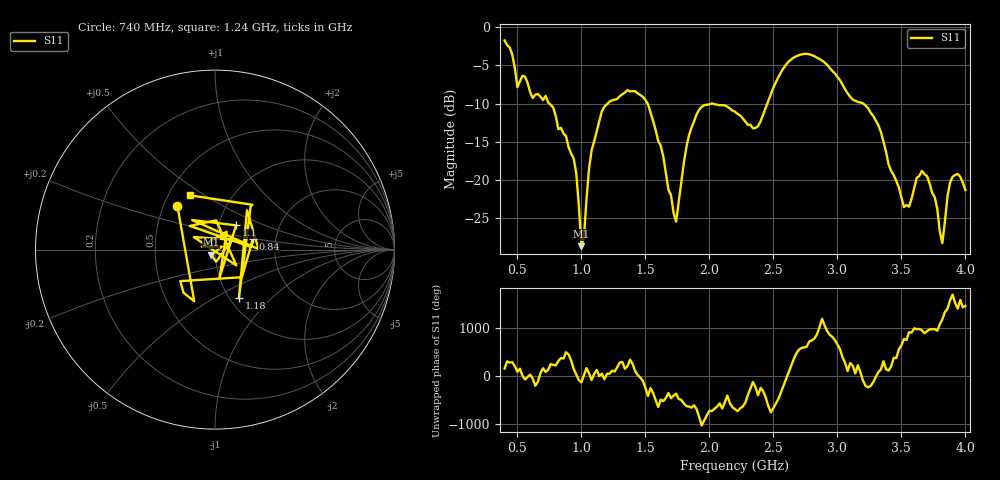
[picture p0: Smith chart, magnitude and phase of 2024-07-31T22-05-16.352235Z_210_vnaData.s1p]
!Created with skrf (http://scikit-rf.org).
# Hz S RI R 50.0
!freq ReS11 ImS11
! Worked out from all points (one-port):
!   181 points, 400 MHz to 4 GHz, reference 50 ohm
!   lowest |S11| = -28.7 dB at 1 GHz (marker M1), VSWR 1.08, Z = 47.7 - j2.77 ohm
!   |S11| at or under -10 dB: 749.5 MHz to 1.205 GHz (455.9 MHz wide, 46.6 % of centre); 1.517 GHz to 2.018 GHz (501.5 MHz wide, 28.4 % of centre); 3.202 GHz to end of sweep (the widest 3 of 4)
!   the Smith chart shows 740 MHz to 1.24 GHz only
!   S11 on the Smith chart (normalised r, x): 740 MHz: 0.59, +0.32; 840 MHz: 1.52, +0.18; 1.1 GHz: 1.21, +0.34; 1.18 GHz: 1.10, -0.66; 1.24 GHz: 0.64, +0.44
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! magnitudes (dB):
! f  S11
! 400 MHz  -1.7
! 500 MHz  -7.9
! 740 MHz  -9.8
! 840 MHz  -13.2
! 860 MHz  -13.9
! 960 MHz  -19.2
! 1 GHz  -28.7
! 1.1 GHz  -14.9
! 1.18 GHz  -10.4
! 1.24 GHz  -9.6
! 1.3 GHz  -9.0
! 1.52 GHz  -10.1
! 1.74 GHz  -25.5
! 1.76 GHz  -23.0
! 1.84 GHz  -14.2
! 1.92 GHz  -10.8
! 2.2 GHz  -11.1
! 2.38 GHz  -13.0
! 2.66 GHz  -3.9
! 2.88 GHz  -4.4
! 3.1 GHz  -9.1
! 3.32 GHz  -12.8
! 3.56 GHz  -23.6
! 3.62 GHz  -19.8
! 3.7 GHz  -19.5
! 3.82 GHz  -28.3
! 3.88 GHz  -20.4
! 4 GHz  -21.4
